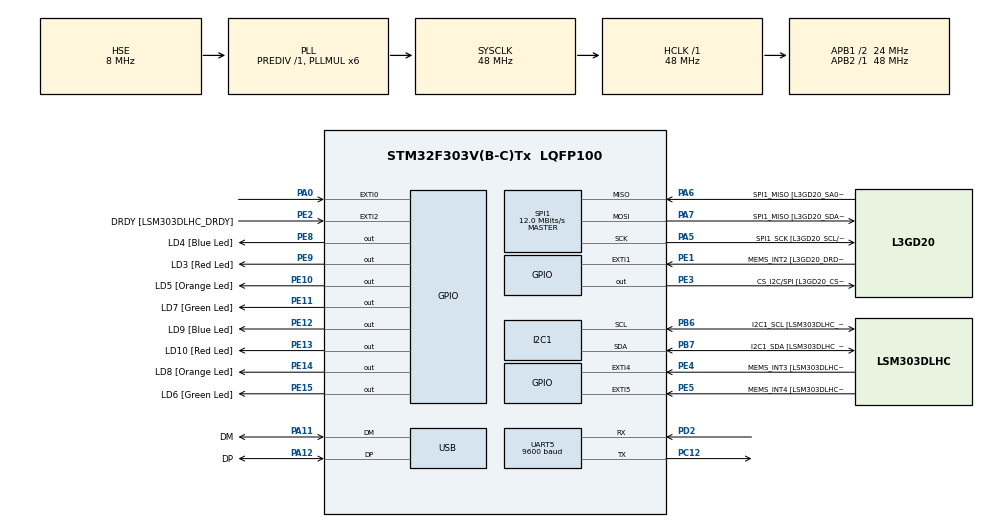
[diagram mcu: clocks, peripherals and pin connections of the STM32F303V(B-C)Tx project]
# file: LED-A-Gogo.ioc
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I2C1.Timing=0x2000090E
I2C1.Timing-I2C=0x2000090E
Mcu.Family=STM32F3
Mcu.Name=STM32F303V(B-C)Tx
Mcu.Package=LQFP100
NVIC.EXTI0_IRQn=true\:0\:0\:false\:false\:true\:true\:true\:true
NVIC.PriorityGroup=NVIC_PRIORITYGROUP_1
NVIC.SPI1_IRQn=true\:1\:0\:true\:false\:true\:true\:true\:true
NVIC.TIM2_IRQn=true\:1\:0\:true\:false\:true\:true\:true\:true
NVIC.UART5_IRQn=true\:1\:0\:true\:false\:true\:true\:true\:true
PA0.Signal=GPXTI0
PA11.GPIO_Label=DM
PA11.Mode=Device
PA11.Signal=USB_DM
PA12.GPIO_Label=DP
PA12.Mode=Device
PA12.Signal=USB_DP
PA13.GPIO_Label=SWDIO
PA13.Mode=Serial_Wire
PA13.Signal=SYS_JTMS-SWDIO
PA14.GPIO_Label=SWCLK
PA14.Mode=Serial_Wire
PA14.Signal=SYS_JTCK-SWCLK
PA5.GPIO_Label=SPI1_SCK [L3GD20_SCL/SPC]
PA5.Mode=Full_Duplex_Master
PA5.Signal=SPI1_SCK
PA6.GPIO_Label=SPI1_MISO [L3GD20_SA0/SDO]
PA6.Mode=Full_Duplex_Master
PA6.Signal=SPI1_MISO
PA7.GPIO_Label=SPI1_MISO [L3GD20_SDA/SDI/SDO]
PA7.Mode=Full_Duplex_Master
PA7.Signal=SPI1_MOSI
PB3.GPIO_Label=SWO
PB3.Signal=SYS_JTDO-TRACESWO
PB6.GPIO_Label=I2C1_SCL [LSM303DLHC_SCL]
PB6.GPIO_Pu=GPIO_PULLUP
PB6.Mode=I2C
PB6.Signal=I2C1_SCL
PB7.GPIO_Label=I2C1_SDA [LSM303DLHC_SDA]
PB7.GPIO_Pu=GPIO_PULLUP
PB7.Mode=I2C
PB7.Signal=I2C1_SDA
PC12.Mode=Asynchronous
PC12.Signal=UART5_TX
PC14-OSC32_IN.GPIO_Label=OSC32_IN
PC14-OSC32_IN.Signal=RCC_OSC32_IN
PC15-OSC32_OUT.GPIO_Label=OSC32_OUT
PC15-OSC32_OUT.Signal=RCC_OSC32_OUT
PD2.Mode=Asynchronous
PD2.Signal=UART5_RX
PE1.GPIO_Label=MEMS_INT2 [L3GD20_DRDY/INT2]
PE1.GPIO_ModeDefaultEXTI=GPIO_MODE_EVT_RISING
PE1.Signal=GPXTI1
PE10.GPIO_Label=LD5 [Orange Led]
PE10.Signal=GPIO_Output
PE11.GPIO_Label=LD7 [Green Led]
PE11.Signal=GPIO_Output
PE12.GPIO_Label=LD9 [Blue Led]
PE12.Signal=GPIO_Output
PE13.GPIO_Label=LD10 [Red Led]
PE13.Signal=GPIO_Output
PE14.GPIO_Label=LD8 [Orange Led]
PE14.Signal=GPIO_Output
PE15.GPIO_Label=LD6 [Green Led]
PE15.Signal=GPIO_Output
PE2.GPIO_Label=DRDY [LSM303DLHC_DRDY]
PE2.GPIO_ModeDefaultEXTI=GPIO_MODE_EVT_RISING
PE2.Signal=GPXTI2
PE3.GPIO_Label=CS_I2C/SPI [L3GD20_CS_I2C/SPI]
PE3.Signal=GPIO_Output
PE4.GPIO_Label=MEMS_INT3 [LSM303DLHC_INT1]
PE4.GPIO_ModeDefaultEXTI=GPIO_MODE_EVT_RISING
PE4.Signal=GPXTI4
PE5.GPIO_Label=MEMS_INT4 [LSM303DLHC_INT2]
PE5.GPIO_ModeDefaultEXTI=GPIO_MODE_EVT_RISING
PE5.Signal=GPXTI5
PE8.GPIO_Label=LD4 [Blue Led]
PE8.Signal=GPIO_Output
PE9.GPIO_Label=LD3 [Red Led]
PE9.Signal=GPIO_Output
PF0-OSC_IN.GPIO_Label=OSC_IN
PF0-OSC_IN.Mode=HSE-External-Clock-Source
PF0-OSC_IN.Signal=RCC_OSC_IN
PF1-OSC_OUT.GPIO_Label=OSC_OUT
PF1-OSC_OUT.Signal=RCC_OSC_OUT
ProjectManager.HeapSize=0x200
ProjectManager.StackSize=0x400
ProjectManager.TargetToolchain=STM32CubeIDE
RCC.AHBFreq_Value=48000000
RCC.APB1CLKDivider=RCC_HCLK_DIV2
RCC.APB1Freq_Value=24000000
RCC.APB1TimFreq_Value=48000000
RCC.APB2Freq_Value=48000000
RCC.APB2TimFreq_Value=48000000
RCC.CortexFreq_Value=48000000
RCC.HCLKFreq_Value=48000000
RCC.HSE_VALUE=8000000
RCC.HSI_VALUE=8000000
RCC.LSE_VALUE=32768
RCC.PLLMUL=RCC_PLL_MUL6
RCC.SYSCLKFreq_VALUE=48000000
RCC.SYSCLKSourceVirtual=RCC_SYSCLKSOURCE_PLLCLK
RCC.USBFreq_Value=48000000
SPI1.BaudRatePrescaler=SPI_BAUDRATEPRESCALER_4
SPI1.BaudRatePrescaler-Full_Duplex_Master=SPI_BAUDRATEPRESCALER_2
SPI1.CalculateBaudRate=12.0 MBits/s
SPI1.CalculateBaudRate-Full_Duplex_Master=24.0 MBits/s
SPI1.DataSize=SPI_DATASIZE_8BIT
SPI1.Direction=SPI_DIRECTION_2LINES
SPI1.Mode=SPI_MODE_MASTER
SPI1.Mode-Full_Duplex_Master=SPI_MODE_MASTER
SPI1.VirtualType=VM_MASTER
TIM2.Period=79
TIM2.Prescaler=8999
UART5.BaudRate=9600
VP_TIM2_VS_ClockSourceINT.Mode=Internal
board=STM32F3DISCOVERY

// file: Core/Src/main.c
/* USER CODE BEGIN Header */
/**
  ******************************************************************************
  * @file           : main.c
  * @brief          : Main program body
  ******************************************************************************
  * @attention
  *
  * Copyright (c) 2025 STMicroelectronics.
  * All rights reserved.
  *
  * This software is licensed under terms that can be found in the LICENSE file
  * in the root directory of this software component.
  * If no LICENSE file comes with this software, it is provided AS-IS.
  *
  ******************************************************************************
  */
/* USER CODE END Header */
#include "main.h"

/* USER CODE BEGIN Includes */
#include "gyroscope_module.h"
#include <stdio.h>
#include <stdlib.h>
#include <string.h>
#include "stm32f3_discovery_gyroscope.h"
/* USER CODE END Includes */

I2C_HandleTypeDef hi2c1;

SPI_HandleTypeDef hspi1;

TIM_HandleTypeDef htim2;

UART_HandleTypeDef huart5;

PCD_HandleTypeDef hpcd_USB_FS;

/* USER CODE BEGIN PV */
//angular_velocity gyroscope_measurements = {0,0,0};
float gyroscope_measurements[3] = {0.0,0.0,0.0};

float max_module = 500000.0f;   // Maximum value (in module) that a gyroscope measurement
							  	 // can assume. We use this information to normalize the
							     // readings so they fall in the [-1,1] interval

// [TO DO]: I previously set "max_module" to "1000.0f", but this still gave me readings
// which were not in the [-1,1] interval, so I tried multiplying it by a "500" factor...

// The reason this is the highest possible module is that the readings
// which are returned by "BSP_GYRO_GetXYZ" are expressed in milli-dps.

// [N.B.]: the "BSP_GYRO_Init" function sets the full scale to 500, which means that the
// readings returned by "BSP_GYRO_GetXYZ" are the raw 16 bits readings multiplied by a
// "17.50" factor -> see Table 4 at Page 9 of the L3GD20 datasheet.

uint8_t rx_byte;               // A byte which gets received on the USART5 RX Terminal
char command_buffer[10];       // Buffer of commands which are given to the board
uint8_t buffer_index = 0;      // Index of the buffer

volatile uint8_t tx_busy = 0;  // This gets declared as "volatile" to
							   // avoid erroneous optimizations by the
							   // compiler (the need to specify "volatile"
							   // is caused by the fact that the variable
							   // gets modified by an external source).

// Used to request the transmission of a "HspeedPgo" message,
// overriding any pending gyroscope message if necessary.
volatile uint8_t override_pending = 0;
char override_msg[] = "HspeedPgo\n";

char tx_msg[100];			   // Message to transmit on the UART
/* USER CODE END PV */

void SystemClock_Config(void);
static void MX_GPIO_Init(void);
static void MX_I2C1_Init(void);
static void MX_SPI1_Init(void);
static void MX_USB_PCD_Init(void);
static void MX_UART5_Init(void);
static void MX_TIM2_Init(void);

int main(void)
{

  /* MCU Configuration--------------------------------------------------------*/

  /* Reset of all peripherals, Initializes the Flash interface and the Systick. */
  HAL_Init();

  /* USER CODE BEGIN Init */
  if (BSP_GYRO_Init() != GYRO_OK) {
          Error_Handler();
  }
  /* USER CODE END Init */

  /* Configure the system clock */
  SystemClock_Config();

  /* Initialize all configured peripherals */
  MX_GPIO_Init();
  MX_I2C1_Init();
  MX_SPI1_Init();
  MX_USB_PCD_Init();
  MX_UART5_Init();
  MX_TIM2_Init();
  /* USER CODE BEGIN 2 */
  HAL_UART_Receive_IT(&huart5, &rx_byte, 1);
  HAL_TIM_Base_Start_IT(&htim2);
  srand(HAL_GetTick());
  /* USER CODE END 2 */

  /* Infinite loop */
  while (1)
  {

  }
}

void SystemClock_Config(void)
{
  RCC_OscInitTypeDef RCC_OscInitStruct = {0};
  RCC_ClkInitTypeDef RCC_ClkInitStruct = {0};
  RCC_PeriphCLKInitTypeDef PeriphClkInit = {0};

  /** Initializes the RCC Oscillators according to the specified parameters
  * in the RCC_OscInitTypeDef structure.
  */
  RCC_OscInitStruct.OscillatorType = RCC_OSCILLATORTYPE_HSI|RCC_OSCILLATORTYPE_HSE;
  RCC_OscInitStruct.HSEState = RCC_HSE_BYPASS;
  RCC_OscInitStruct.HSEPredivValue = RCC_HSE_PREDIV_DIV1;
  RCC_OscInitStruct.HSIState = RCC_HSI_ON;
  RCC_OscInitStruct.HSICalibrationValue = RCC_HSICALIBRATION_DEFAULT;
  RCC_OscInitStruct.PLL.PLLState = RCC_PLL_ON;
  RCC_OscInitStruct.PLL.PLLSource = RCC_PLLSOURCE_HSE;
  RCC_OscInitStruct.PLL.PLLMUL = RCC_PLL_MUL6;
  if (HAL_RCC_OscConfig(&RCC_OscInitStruct) != HAL_OK)
  {
    Error_Handler();
  }

  /** Initializes the CPU, AHB and APB buses clocks
  */
  RCC_ClkInitStruct.ClockType = RCC_CLOCKTYPE_HCLK|RCC_CLOCKTYPE_SYSCLK
                              |RCC_CLOCKTYPE_PCLK1|RCC_CLOCKTYPE_PCLK2;
  RCC_ClkInitStruct.SYSCLKSource = RCC_SYSCLKSOURCE_PLLCLK;
  RCC_ClkInitStruct.AHBCLKDivider = RCC_SYSCLK_DIV1;
  RCC_ClkInitStruct.APB1CLKDivider = RCC_HCLK_DIV2;
  RCC_ClkInitStruct.APB2CLKDivider = RCC_HCLK_DIV1;

  if (HAL_RCC_ClockConfig(&RCC_ClkInitStruct, FLASH_LATENCY_1) != HAL_OK)
  {
    Error_Handler();
  }
  PeriphClkInit.PeriphClockSelection = RCC_PERIPHCLK_USB|RCC_PERIPHCLK_UART5
                              |RCC_PERIPHCLK_I2C1;
  PeriphClkInit.Uart5ClockSelection = RCC_UART5CLKSOURCE_PCLK1;
  PeriphClkInit.I2c1ClockSelection = RCC_I2C1CLKSOURCE_HSI;
  PeriphClkInit.USBClockSelection = RCC_USBCLKSOURCE_PLL;
  if (HAL_RCCEx_PeriphCLKConfig(&PeriphClkInit) != HAL_OK)
  {
    Error_Handler();
  }
}

static void MX_I2C1_Init(void)
{

  hi2c1.Instance = I2C1;
  hi2c1.Init.Timing = 0x2000090E;
  hi2c1.Init.OwnAddress1 = 0;
  hi2c1.Init.AddressingMode = I2C_ADDRESSINGMODE_7BIT;
  hi2c1.Init.DualAddressMode = I2C_DUALADDRESS_DISABLE;
  hi2c1.Init.OwnAddress2 = 0;
  hi2c1.Init.OwnAddress2Masks = I2C_OA2_NOMASK;
  hi2c1.Init.GeneralCallMode = I2C_GENERALCALL_DISABLE;
  hi2c1.Init.NoStretchMode = I2C_NOSTRETCH_DISABLE;
  if (HAL_I2C_Init(&hi2c1) != HAL_OK)
  {
    Error_Handler();
  }

  /** Configure Analogue filter
  */
  if (HAL_I2CEx_ConfigAnalogFilter(&hi2c1, I2C_ANALOGFILTER_ENABLE) != HAL_OK)
  {
    Error_Handler();
  }

  /** Configure Digital filter
  */
  if (HAL_I2CEx_ConfigDigitalFilter(&hi2c1, 0) != HAL_OK)
  {
    Error_Handler();
  }

}

static void MX_SPI1_Init(void)
{

  /* SPI1 parameter configuration*/
  hspi1.Instance = SPI1;
  hspi1.Init.Mode = SPI_MODE_MASTER;
  hspi1.Init.Direction = SPI_DIRECTION_2LINES;
  hspi1.Init.DataSize = SPI_DATASIZE_8BIT;
  hspi1.Init.CLKPolarity = SPI_POLARITY_LOW;
  hspi1.Init.CLKPhase = SPI_PHASE_1EDGE;
  hspi1.Init.NSS = SPI_NSS_SOFT;
  hspi1.Init.BaudRatePrescaler = SPI_BAUDRATEPRESCALER_4;
  hspi1.Init.FirstBit = SPI_FIRSTBIT_MSB;
  hspi1.Init.TIMode = SPI_TIMODE_DISABLE;
  hspi1.Init.CRCCalculation = SPI_CRCCALCULATION_DISABLE;
  hspi1.Init.CRCPolynomial = 7;
  hspi1.Init.CRCLength = SPI_CRC_LENGTH_DATASIZE;
  hspi1.Init.NSSPMode = SPI_NSS_PULSE_ENABLE;
  if (HAL_SPI_Init(&hspi1) != HAL_OK)
  {
    Error_Handler();
  }

}

static void MX_TIM2_Init(void)
{

  TIM_ClockConfigTypeDef sClockSourceConfig = {0};
  TIM_MasterConfigTypeDef sMasterConfig = {0};

  htim2.Instance = TIM2;
  htim2.Init.Prescaler = 8999;
  htim2.Init.CounterMode = TIM_COUNTERMODE_UP;
  htim2.Init.Period = 79;
  htim2.Init.ClockDivision = TIM_CLOCKDIVISION_DIV1;
  htim2.Init.AutoReloadPreload = TIM_AUTORELOAD_PRELOAD_DISABLE;
  if (HAL_TIM_Base_Init(&htim2) != HAL_OK)
  {
    Error_Handler();
  }
  sClockSourceConfig.ClockSource = TIM_CLOCKSOURCE_INTERNAL;
  if (HAL_TIM_ConfigClockSource(&htim2, &sClockSourceConfig) != HAL_OK)
  {
    Error_Handler();
  }
  sMasterConfig.MasterOutputTrigger = TIM_TRGO_RESET;
  sMasterConfig.MasterSlaveMode = TIM_MASTERSLAVEMODE_DISABLE;
  if (HAL_TIMEx_MasterConfigSynchronization(&htim2, &sMasterConfig) != HAL_OK)
  {
    Error_Handler();
  }

}

static void MX_UART5_Init(void)
{

  huart5.Instance = UART5;
  huart5.Init.BaudRate = 9600;
  huart5.Init.WordLength = UART_WORDLENGTH_8B;
  huart5.Init.StopBits = UART_STOPBITS_1;
  huart5.Init.Parity = UART_PARITY_NONE;
  huart5.Init.Mode = UART_MODE_TX_RX;
  huart5.Init.HwFlowCtl = UART_HWCONTROL_NONE;
  huart5.Init.OverSampling = UART_OVERSAMPLING_16;
  huart5.Init.OneBitSampling = UART_ONE_BIT_SAMPLE_DISABLE;
  huart5.AdvancedInit.AdvFeatureInit = UART_ADVFEATURE_NO_INIT;
  if (HAL_UART_Init(&huart5) != HAL_OK)
  {
    Error_Handler();
  }

}

static void MX_USB_PCD_Init(void)
{

  hpcd_USB_FS.Instance = USB;
  hpcd_USB_FS.Init.dev_endpoints = 8;
  hpcd_USB_FS.Init.speed = PCD_SPEED_FULL;
  hpcd_USB_FS.Init.phy_itface = PCD_PHY_EMBEDDED;
  hpcd_USB_FS.Init.low_power_enable = DISABLE;
  hpcd_USB_FS.Init.battery_charging_enable = DISABLE;
  if (HAL_PCD_Init(&hpcd_USB_FS) != HAL_OK)
  {
    Error_Handler();
  }

}

static void MX_GPIO_Init(void)
{
  GPIO_InitTypeDef GPIO_InitStruct = {0};

  /* GPIO Ports Clock Enable */
  __HAL_RCC_GPIOE_CLK_ENABLE();
  __HAL_RCC_GPIOC_CLK_ENABLE();
  __HAL_RCC_GPIOF_CLK_ENABLE();
  __HAL_RCC_GPIOA_CLK_ENABLE();
  __HAL_RCC_GPIOD_CLK_ENABLE();
  __HAL_RCC_GPIOB_CLK_ENABLE();

  /*Configure GPIO pin Output Level */
  HAL_GPIO_WritePin(GPIOE, CS_I2C_SPI_Pin|LD4_Pin|LD3_Pin|LD5_Pin
                          |LD7_Pin|LD9_Pin|LD10_Pin|LD8_Pin
                          |LD6_Pin, GPIO_PIN_RESET);

  /*Configure GPIO pins : DRDY_Pin MEMS_INT3_Pin MEMS_INT4_Pin MEMS_INT2_Pin */
  GPIO_InitStruct.Pin = DRDY_Pin|MEMS_INT3_Pin|MEMS_INT4_Pin|MEMS_INT2_Pin;
  GPIO_InitStruct.Mode = GPIO_MODE_EVT_RISING;
  GPIO_InitStruct.Pull = GPIO_NOPULL;
  HAL_GPIO_Init(GPIOE, &GPIO_InitStruct);

  /*Configure GPIO pins : CS_I2C_SPI_Pin LD4_Pin LD3_Pin LD5_Pin
                           LD7_Pin LD9_Pin LD10_Pin LD8_Pin
                           LD6_Pin */
  GPIO_InitStruct.Pin = CS_I2C_SPI_Pin|LD4_Pin|LD3_Pin|LD5_Pin
                          |LD7_Pin|LD9_Pin|LD10_Pin|LD8_Pin
                          |LD6_Pin;
  GPIO_InitStruct.Mode = GPIO_MODE_OUTPUT_PP;
  GPIO_InitStruct.Pull = GPIO_NOPULL;
  GPIO_InitStruct.Speed = GPIO_SPEED_FREQ_LOW;
  HAL_GPIO_Init(GPIOE, &GPIO_InitStruct);

  /*Configure GPIO pin : PA0 */
  GPIO_InitStruct.Pin = GPIO_PIN_0;
  GPIO_InitStruct.Mode = GPIO_MODE_IT_RISING;
  GPIO_InitStruct.Pull = GPIO_NOPULL;
  HAL_GPIO_Init(GPIOA, &GPIO_InitStruct);

  /* EXTI interrupt init*/
  HAL_NVIC_SetPriority(EXTI0_IRQn, 0, 0);
  HAL_NVIC_EnableIRQ(EXTI0_IRQn);

}

/* USER CODE BEGIN 4 */

// Function which turns all of the LEDs off
void turn_off_led(void)
{
  HAL_GPIO_WritePin(GPIOE, LD3_Pin|LD4_Pin|LD5_Pin|LD6_Pin|
                            LD7_Pin|LD8_Pin|LD9_Pin|LD10_Pin, GPIO_PIN_RESET);
}

void HAL_UART_RxCpltCallback(UART_HandleTypeDef *huart)
{
    if (huart->Instance == UART5)
    {
    	/*
    	[FOR DEBUGGING PURPOSES]
        char msg[] = "For debugging purposes: interrupt received\r\n";
        HAL_UART_Transmit(&huart5, (uint8_t*)msg, strlen(msg), 100);

        char buf[50];
        sprintf(buf, "For debugging purposes: byte received: '%c' (0x%02X)\r\n", rx_byte, rx_byte);
        HAL_UART_Transmit(&huart5, (uint8_t*)buf, strlen(buf), 100);
		*/

        static uint8_t i = 0;
        static char rx_buffer[10];

        if (rx_byte != '\n' && rx_byte != '\r' && i < sizeof(rx_buffer) - 1)
        {
            rx_buffer[i++] = rx_byte;
        }
        else
        {
            rx_buffer[i] = '\0';
            i = 0;

            uint8_t valid_command = 1;

            if (rx_buffer[1] != '\0')
            {
                valid_command = 0;
            }
            else
            {
                switch (rx_buffer[0])
                {
                    case '0':
                        turn_off_led();
                        /*	[FOR DEBUGGING PURPOSES]
                        {
                            char complete_msg[] = "Game complete!!\r\n";
                            HAL_UART_Transmit(&huart5, (uint8_t*)complete_msg, strlen(complete_msg), 100);
                        }*/
                        break;

                    case '1': HAL_GPIO_WritePin(GPIOE, LD7_Pin, GPIO_PIN_SET); break;
                    case '2': HAL_GPIO_WritePin(GPIOE, LD9_Pin, GPIO_PIN_SET); break;
                    case '3': HAL_GPIO_WritePin(GPIOE, LD10_Pin, GPIO_PIN_SET); break;
                    case '4': HAL_GPIO_WritePin(GPIOE, LD8_Pin, GPIO_PIN_SET); break;
                    case '5': HAL_GPIO_WritePin(GPIOE, LD6_Pin, GPIO_PIN_SET); break;
                    case '6': HAL_GPIO_WritePin(GPIOE, LD4_Pin, GPIO_PIN_SET); break;
                    case '7': HAL_GPIO_WritePin(GPIOE, LD3_Pin, GPIO_PIN_SET); break;
                    case '8': HAL_GPIO_WritePin(GPIOE, LD5_Pin, GPIO_PIN_SET); break;

                    default:
                        valid_command = 0;
                        break;
                }
            }

            /*
            if (!valid_command) {
                char error[] = "Warning: invalid command!!\r\n";
                HAL_UART_Transmit(&huart5, (uint8_t*)error, strlen(error), 100);
            }

            else if (rx_buffer[0] != '0') {
				char ok[] = "For debugging purposes: command executed successfully\r\n";
				HAL_UART_Transmit(&huart5, (uint8_t*)ok, strlen(ok), 100);
            }
            */
        }

        HAL_UART_Receive_IT(&huart5, &rx_byte, 1);
    }
}

// Function which gets executed at the end of
// a transmission on the UART (which sets the
// "busy state") of the UART at zero again.
void HAL_UART_TxCpltCallback(UART_HandleTypeDef *huart)
{
    if (huart->Instance == UART5) {
    	// If there was an override
    	// message, it will have to be sent.
        if (override_pending) {
            override_pending = 0;
            tx_busy = 1;
            HAL_UART_Transmit_IT(&huart5, (uint8_t*)override_msg, strlen(override_msg));
        } else {
            tx_busy = 0;
        }
    }
}

// This function handles the interrupt generated when
// a timer's period elapses (when it happens, the function
// simply transmits the gyroscope readings to the paired device)
void HAL_TIM_PeriodElapsedCallback(TIM_HandleTypeDef *htim)
{
    if (htim->Instance == TIM2)
    {
    	// If there's a transmission going on, or there's an override message pending (these
    	// are messages coming from the EXTI0 callback), the current transmission gets skipped
    	// (even if we lose gyro "packets/message", the game does not require a huge precision)
    	if (tx_busy || override_pending)
    	            return;

    	BSP_GYRO_GetXYZ(gyroscope_measurements);
		snprintf(tx_msg, sizeof(tx_msg),
				 "HgyroP%.6f,%.6f\n",
				 gyroscope_measurements[0] / max_module,	// Each reading gets normalized
				 gyroscope_measurements[1] / max_module);   // in the [-1,1] interval

				// We don't need readings on the "Z" axis, for out movement is bidimensional

		// The UART will have to transmit
		// the message, so it gets "busy"
		tx_busy = 1;
		HAL_UART_Transmit_IT(&huart5, (uint8_t*)tx_msg, strlen(tx_msg));
    }
}

// Interrupt generated by the pressing of the "USER"
// button, it will get used to send the message which
// guarantees the consumption of the power up by a
// player
void HAL_GPIO_EXTI_Callback(uint16_t GPIO_Pin)
{
    if (GPIO_Pin == GPIO_PIN_0)  // User Button
    {
        // If the UART is not transmitting, the
    	// transmission gets started.
        if (!tx_busy)
        {
            tx_busy = 1;
            HAL_UART_Transmit_IT(&huart5, (uint8_t*)override_msg, strlen(override_msg));
        }
        else
        {
            // If the UART is transmitting, the message is pending
        	// (rembember: messages from the User Button CANNOT be lost,
        	// contrary to the gyroscope readings).
            override_pending = 1;
        }
    }
}

/* USER CODE END 4 */

void Error_Handler(void)
{
  __disable_irq();
  while (1)
  {
  }
}
